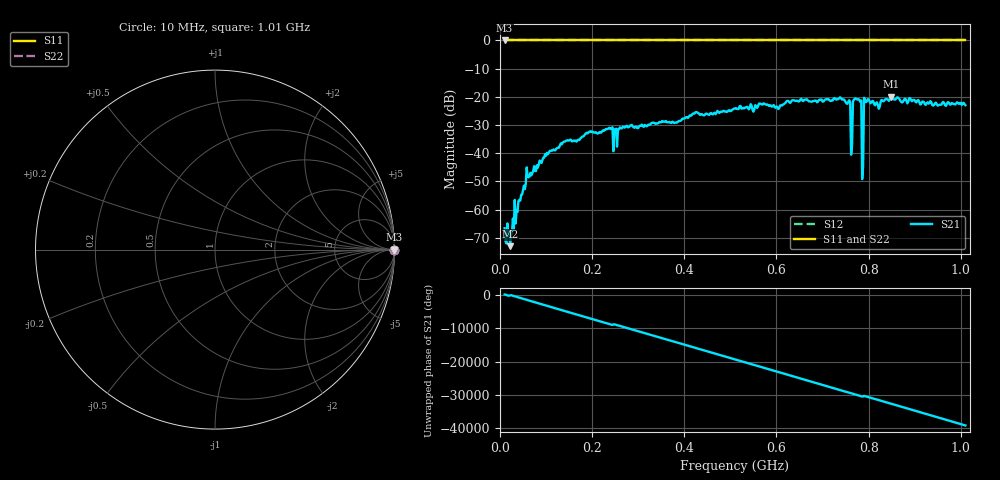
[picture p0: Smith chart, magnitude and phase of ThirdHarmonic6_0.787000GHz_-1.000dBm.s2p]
! 8/16/2025 2:16:17 AM
! C:\ANRITSUVNA\TEMP\TEMP.S2P
! CHANNEL.1
! TR.MEASUREMENT
! RAW.DATA
! RF.CORRECTION.OFF
! AVERAGING.OFF
! IF.BANDWIDTH: 5KHZ
! SWEEPTYPE:  FREQ.SWEEP(Linear)
! Reference Plane Port Info
! PORT:  PORT1  PORT2
! DISTANCE:  0  m  0  m
! TIME:  0  s  0  s
! PHASE.OFFSET:  0  deg.  0  deg.
! LOSS:  0  dB  0  dB
! REF.LOSS:  0  dB  0  dB
! REF.FREQ:  0  Hz  0  Hz
! Power Info
! POWER:  -20  dBm  -20  dBm
! EFF.POWER:  -20  dBm  -20  dBm
! SOURCE.ATTEN:  0  dB  0  dB
! TEST.ATTEN:  0  dB  0  dB
# GHZ S RI R 50.0
! FREQ.GHZ  S11RE  S11IM  S21RE  S21IM  S12RE  S12IM  S22RE  S22IM
!; PortSelection: Port_12
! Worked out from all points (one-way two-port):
!   501 points, 10 MHz to 1.01 GHz, reference 50 ohm
!   highest |S21| = -19.97 dB at 848 MHz (marker M1); lowest = -73.0 dB at 22 MHz (marker M2)
!   lowest |S11| = 0.0 dB at 10 MHz (marker M3)
!   |S11| at or under -10 dB: nowhere
!   |S22| runs from 0.0 to 0.0 dB; largest |S21 - S12| = 1.1
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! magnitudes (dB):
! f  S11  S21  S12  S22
! 10 MHz  0.0  -66.6  0.0  0.0
! 22 MHz  0.0  -73.0  0.0  0.0
! 62 MHz  0.0  -48.6  0.0  0.0
! 106 MHz  0.0  -39.8  0.0  0.0
! 178 MHz  0.0  -34.2  0.0  0.0
! 240 MHz  0.0  -31.4  0.0  0.0
! 250 MHz  0.0  -31.5  0.0  0.0
! 344 MHz  0.0  -29.3  0.0  0.0
! 510 MHz  0.0  -24.2  0.0  0.0
! 678 MHz  0.0  -21.6  0.0  0.0
! 742 MHz  0.0  -20.9  0.0  0.0
! 756 MHz  0.0  -21.7  0.0  0.0
! 760 MHz  0.0  -22.1  0.0  0.0
! 766 MHz  0.0  -21.6  0.0  0.0
! 770 MHz  0.0  -20.6  0.0  0.0
! 780 MHz  0.0  -21.1  0.0  0.0
! 784 MHz  0.0  -21.3  0.0  0.0
! 790 MHz  0.0  -20.3  0.0  0.0
! 794 MHz  0.0  -21.9  0.0  0.0
! 844 MHz  0.0  -21.4  0.0  0.0
! 848 MHz  0.0  -20.0  0.0  0.0
! 1.01 GHz  0.0  -23.0  0.0  0.0
